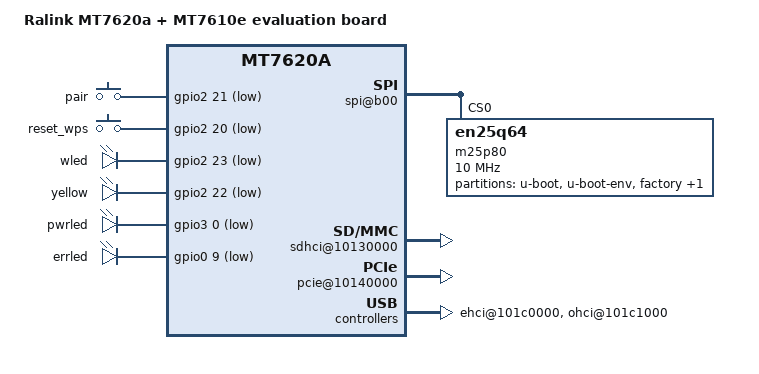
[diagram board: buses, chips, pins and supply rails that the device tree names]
/dts-v1/;

/include/ "mt7620a.dtsi"

/ {
	compatible = "ralink,mt7620a-eval-board", "ralink,mt7620a-soc";
	model = "Ralink MT7620a + MT7610e evaluation board";

	palmbus@10000000 {
		spi@b00 {
			status = "okay";

			m25p80@0 {
				#address-cells = <1>;
				#size-cells = <1>;
				compatible = "en25q64";
				reg = <0 0>;
				linux,modalias = "m25p80", "en25q64";
				spi-max-frequency = <10000000>;

				partition@0 {
					label = "u-boot";
					reg = <0x0 0x30000>;
					read-only;
				};

				partition@30000 {
					label = "u-boot-env";
					reg = <0x30000 0x10000>;
					read-only;
				};

				factory: partition@40000 {
					label = "factory";
					reg = <0x40000 0x10000>;
					read-only;
				};

				partition@50000 {
					label = "firmware";
					reg = <0x50000 0xfb0000>;
				};
			};
		};

                gpio1: gpio@638 {
                        status = "okay";
                };
	};

	pinctrl {
		state_default: pinctrl0 {
			gpio {
				ralink,group = "i2c", "uartf", "wled";
				ralink,function = "gpio";
			};

			rgmii2 {
		           ralink,group = "rgmii2";
		           ralink,function = "gpio";
			};
		};
	};

	ethernet@10100000 {
                pinctrl-names = "default";
                pinctrl-0 = <&ephy_pins>;
                mtd-mac-address = <&factory 0x4>;
                ralink,port-map = "llllw";
        };

	sdhci@10130000 {
		status = "okay";
	};

	pcie@10140000 {
		status = "okay";
	};

	gpio-keys-polled {
		compatible = "gpio-keys";
		#address-cells = <1>;
		#size-cells = <0>;
		poll-interval = <20>;
		pair {
			label = "pair";
			gpios = <&gpio2 21 1>;
			linux,code = <0x100>;
		};

		reset_wps {
			label = "reset_wps";
			gpios = <&gpio2 20 1>;
			linux,code = <0x101>;
		};
	};

	ehci@101c0000 {
		status = "okay";
	};

	ohci@101c1000 {
		status = "okay";
	};

    	wmac@10180000 {
       		ralink,mtd-eeprom = <&factory 0>;
    	};

	gpio-leds {
                compatible = "gpio-leds";
                peripheral {
                        label = "wled";
                        gpios = <&gpio2 23 1>;
                };

		pair {
			label = "yellow";
			gpios = <&gpio2 22 1>;
                };

		pwrled {
                        label = "pwrled";
                        gpios = <&gpio3 0 1>;
                };
		errled{
			label = "errled";
			gpios = <&gpio0 9 1>;
		};
	};
};
